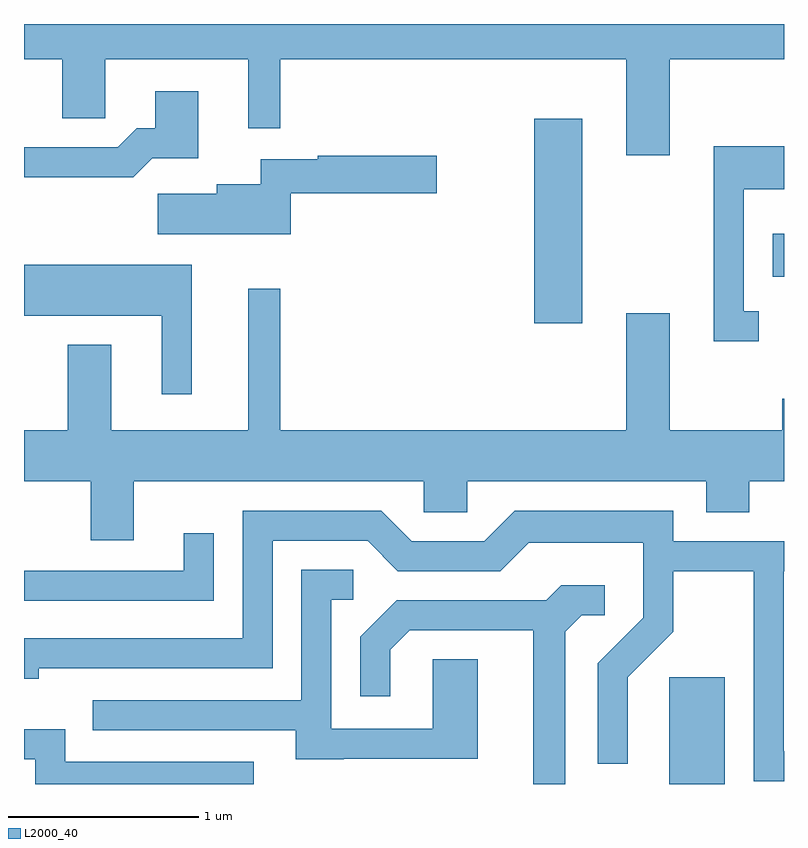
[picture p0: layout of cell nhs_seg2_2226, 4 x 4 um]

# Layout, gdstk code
import gdstk
lib = gdstk.Library(unit=1e-6, precision=1e-09)
def R(c, l, rs):  # rectangles x0, y0, x1, y1
    for r in rs: c.add(gdstk.rectangle(r[:2], r[2:], *l))
def P(c, l, *ps):  # polygons
    for p in ps: c.add(gdstk.Polygon(p, *l))
L2000_40 = (2000, 40)

nhs_seg2_2226 = lib.new_cell('nhs_seg2_2226')
R(nhs_seg2_2226, L2000_40, [(253.006,1077.802,253.299,1078.364), (252.296,1080.226,252.549,1081.304), (253.551,1080.471,253.611,1080.699)])
P(nhs_seg2_2226, L2000_40, [(253.009,1081.616),(253.611,1081.616),(253.611,1081.802),(249.611,1081.802),(249.611,1081.616),(249.811,1081.616),(249.811,1081.306),(250.039,1081.306),(250.039,1081.616),(250.791,1081.616),(250.791,1081.253),(250.959,1081.253),(250.959,1081.616),(252.781,1081.616),(252.781,1081.111),(253.009,1081.111)],
  [(250.287,1081.096),(250.529,1081.096),(250.529,1081.449),(250.301,1081.449),(250.301,1081.254),(250.204,1081.254),(250.104,1081.154),(249.611,1081.154),(249.611,1080.996),(250.187,1080.996)],
  [(253.478,1080.289),(253.399,1080.289),(253.399,1080.931),(253.611,1080.931),(253.611,1081.159),(253.241,1081.159),(253.241,1080.131),(253.478,1080.131)],
  [(251.014,1080.911),(251.784,1080.911),(251.784,1081.109),(251.156,1081.109),(251.156,1081.089),(250.856,1081.089),(250.856,1080.959),(250.626,1080.959),(250.626,1080.909),(250.316,1080.909),(250.316,1080.696),(251.014,1080.696)],
  [(250.494,1080.534),(249.611,1080.534),(249.611,1080.266),(250.336,1080.266),(250.336,1079.853),(250.494,1079.853)],
  [(250.189,1079.396),(251.716,1079.396),(251.716,1079.231),(251.944,1079.231),(251.944,1079.396),(253.201,1079.396),(253.201,1079.231),(253.429,1079.231),(253.429,1079.396),(253.611,1079.396),(253.611,1079.829),(253.601,1079.829),(253.601,1079.664),(253.009,1079.664),(253.009,1080.279),(252.781,1080.279),(252.781,1079.664),(250.959,1079.664),(250.959,1080.408),(250.791,1080.408),(250.791,1079.664),(250.069,1079.664),(250.069,1080.114),(249.841,1080.114),(249.841,1079.664),(249.611,1079.664),(249.611,1079.396),(249.961,1079.396),(249.961,1079.086),(250.189,1079.086)],
  [(253.611,1077.974),(253.609,1077.974),(253.609,1078.921),(253.611,1078.921),(253.611,1079.079),(253.029,1079.079),(253.029,1079.239),(252.194,1079.239),(252.034,1079.079),(251.652,1079.079),(251.492,1079.239),(250.761,1079.239),(250.761,1078.569),(249.611,1078.569),(249.611,1078.356),(249.689,1078.356),(249.689,1078.411),(250.919,1078.411),(250.919,1079.081),(251.419,1079.081),(251.579,1078.921),(252.117,1078.921),(252.267,1079.071),(252.871,1079.071),(252.871,1078.677),(252.631,1078.437),(252.631,1077.908),(252.789,1077.908),(252.789,1078.364),(253.029,1078.604),(253.029,1078.921),(253.451,1078.921),(253.451,1077.816),(253.611,1077.816)],
  [(250.609,1079.123),(250.451,1079.123),(250.451,1078.924),(249.611,1078.924),(249.611,1078.766),(250.609,1078.766)],
  [(251.295,1077.936),(251.999,1077.936),(251.999,1078.459),(251.761,1078.459),(251.761,1078.094),(251.229,1078.094),(251.229,1078.771),(251.343,1078.771),(251.343,1078.929),(251.071,1078.929),(251.071,1078.244),(249.973,1078.244),(249.973,1078.086),(251.041,1078.086),(251.041,1077.931),(251.295,1077.931)],
  [(252.459,1078.604),(252.547,1078.691),(252.668,1078.691),(252.668,1078.849),(252.439,1078.849),(252.359,1078.769),(251.574,1078.769),(251.381,1078.577),(251.381,1078.263),(251.539,1078.263),(251.539,1078.509),(251.642,1078.611),(252.291,1078.611),(252.291,1077.802),(252.459,1077.802)],
  [(250.819,1077.919),(249.829,1077.919),(249.829,1078.089),(249.611,1078.089),(249.611,1077.931),(249.671,1077.931),(249.671,1077.802),(250.819,1077.802)])

lib.write_gds('nhs_seg2_2226.gds')
